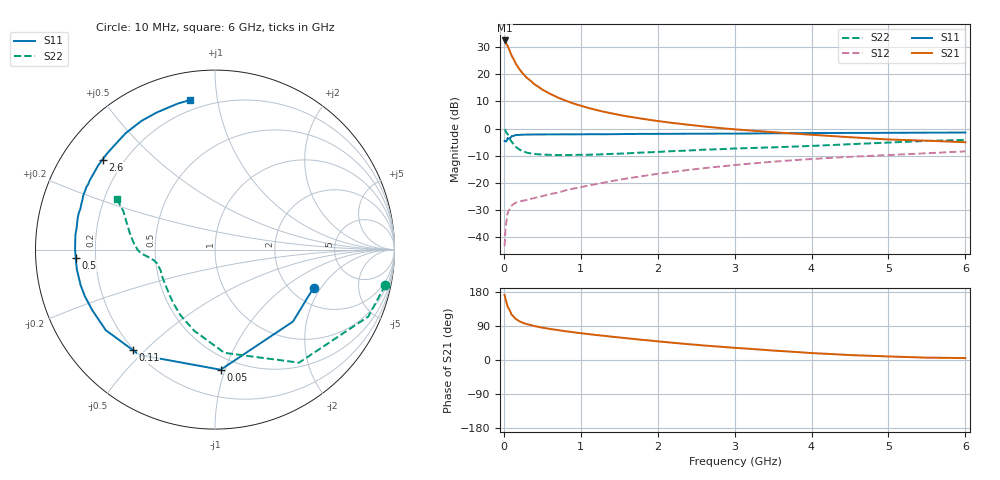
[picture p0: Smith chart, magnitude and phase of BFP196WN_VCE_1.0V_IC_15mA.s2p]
! Infineon Technologies  Discrete & RF Semiconductors
! BFP196WN
! VCE =  1.0 V,  IC =  15 mA
! Common Emitter S-Parameters:  Jan 2017
# GHz  S  MA  R  50
!  f  S11  S21  S12  S22
! GHz  MAG  ANG  MAG  ANG  MAG  ANG  MAG  ANG
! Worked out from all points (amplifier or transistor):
!   77 points, 10 MHz to 6 GHz, reference 50 ohm
!   highest |S21| = 32.3 dB at 10 MHz (marker M1)
!   |S21| within 3 dB of that: start of sweep to 64.08 MHz
!   unconditionally stable (mu >= 1): 940.9 MHz to 3.176 GHz
!   at 130 MHz: K = 0.26, MSG = 26.5 dB, |S12| = -27.7 dB
!   at 2.2 GHz: K = 1.06, MAG = 7.5 dB, |S12| = -15.9 dB
!   at 6 GHz: K = 0.94, MSG = 1.7 dB, |S12| = -8.4 dB
!   S11 on the Smith chart (normalised r, x): 10 MHz: 2.64, -1.71; 50 MHz: 0.40, -0.97; 110 MHz: 0.20, -0.46; 500 MHz: 0.13, -0.03; 2.6 GHz: 0.12, +0.35; 6 GHz: 0.14, +0.84
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0.01  0.5893 -21.0  41.4 171.6  0.0069 80.7  0.9691 -11.8
0.02  0.5911 -42.7  39.14 161.8  0.0131 74.0  0.9321 -23.6
0.05  0.67 -87.3  32.62 140.0  0.0283 54.4  0.7849 -53.4
0.1  0.7222 -125.7  22 119.6  0.0382 40.7  0.5775 -84.8
0.11  0.7232 -129.4  20.76 118.0  0.0392 39.3  0.5509 -88.0
0.15  0.7564 -143.6  16.04 109.1  0.0432 34.2  0.4671 -104.3
0.2  0.7627 -153.8  12.41 102.5  0.0451 33.0  0.4131 -117.8
0.25  0.7704 -160.4  10.11 97.9  0.0473 33.0  0.381 -126.8
0.3  0.7744 -165.2  8.511 94.6  0.0488 33.9  0.3598 -134.3
0.4  0.7776 -171.9  6.46 89.3  0.053 37.2  0.3402 -143.7
0.5  0.7775 -176.6  5.187 85.3  0.0574 40.7  0.3328 -150.4
0.6  0.7796 179.6  4.341 81.9  0.0624 43.1  0.3283 -155.1
0.7  0.78 176.7  3.72 79.0  0.0663 46.3  0.3247 -158.3
0.9  0.7803 171.3  2.899 73.3  0.0786 49.6  0.3275 -162.7
1.1  0.785 167.1  2.386 68.4  0.0897 52.6  0.3299 -165.9
1.5  0.7884 159.6  1.775 59.5  0.1145 55.4  0.3453 -170.1
2.1  0.7975 149.3  1.316 47.4  0.1535 55.6  0.3778 -174.0
2.6  0.8027 141.3  1.091 38.3  0.1869 54.1  0.4083 -176.8
3.1  0.8072 133.6  0.943 30.8  0.2196 51.1  0.4333 179.6
4.1  0.8257 118.6  0.752 17.3  0.2805 43.9  0.4856 168.6
5.1  0.834 107.4  0.622 8.7  0.3306 36.7  0.56 156.7
6  0.8449 99.3  0.56 5.1  0.3803 30.7  0.6172 152.6
